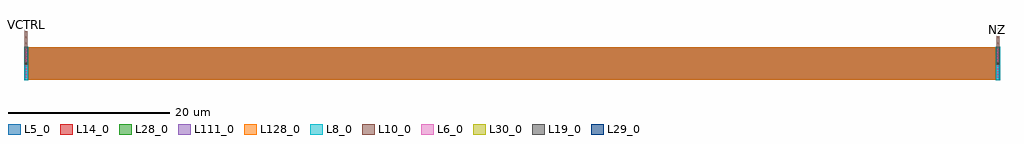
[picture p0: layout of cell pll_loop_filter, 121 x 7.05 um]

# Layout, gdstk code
import gdstk
lib = gdstk.Library(unit=1e-6, precision=1e-09)
def R(c, l, rs):  # rectangles x0, y0, x1, y1
    for r in rs: c.add(gdstk.rectangle(r[:2], r[2:], *l))
def A(c, l, x, y, w, h, nx, ny, dx, dy):  # array of equal rectangles
    R(c, l, [(x+i*dx, y+j*dy, x+i*dx+w, y+j*dy+h) for i in range(nx) for j in range(ny)])
L5_0 = (5, 0)
L6_0 = (6, 0)
L8_0 = (8, 0)
L10_0 = (10, 0)
L14_0 = (14, 0)
L19_0 = (19, 0)
L28_0 = (28, 0)
L29_0 = (29, 0)
L30_0 = (30, 0)
L111_0 = (111, 0)
L128_0 = (128, 0)

loop_filter_resrppd_w4_l = lib.new_cell('loop_filter_resrppd_w4_l120')
R(loop_filter_resrppd_w4_l, L5_0, [(0.1,0.1,0.5,4.3), (120.5,0.1,120.9,4.3), (0.5,0.2,120.5,4.2)])
A(loop_filter_resrppd_w4_l, L6_0, 0.2, 0.42, 0.16, 0.16, 1, 11, 0, 0.34)
A(loop_filter_resrppd_w4_l, L6_0, 120.64, 0.42, 0.16, 0.16, 1, 11, 0, 0.34)
R(loop_filter_resrppd_w4_l, L8_0, [(0,0.1,0.5,4.3), (120.5,0.1,121,4.3)])
R(loop_filter_resrppd_w4_l, L14_0, [(0.5,0.2,120.5,4.2)])
R(loop_filter_resrppd_w4_l, L28_0, [(0.5,0.2,120.5,4.2)])
R(loop_filter_resrppd_w4_l, L111_0, [(0.5,0.2,120.5,4.2)])
R(loop_filter_resrppd_w4_l, L128_0, [(0.5,0.2,120.5,4.2)])

pll_loop_filter = lib.new_cell('pll_loop_filter')
R(pll_loop_filter, L10_0, [(0.1,2.05,0.4,2.35), (0.1,2.05,0.4,7.15), (120.6,2.05,120.9,2.35), (120.6,2.05,120.9,6.55)])
R(pll_loop_filter, L19_0, [(0.155,2.105,0.345,2.295), (120.655,2.105,120.845,2.295)])
R(pll_loop_filter, L29_0, [(120.655,6.305,120.845,6.495), (0.155,6.905,0.345,7.095)])
R(pll_loop_filter, L30_0, [(120.6,6.25,120.9,6.55), (0.1,6.85,0.4,7.15)])
pll_loop_filter.add(gdstk.Reference(loop_filter_resrppd_w4_l, (0,0)))
pll_loop_filter.add(gdstk.Label('NZ', (120.75,6.4), layer=30, texttype=2))
pll_loop_filter.add(gdstk.Label('VCTRL', (0.25,7), layer=30, texttype=2))

lib.write_gds('pll_loop_filter.gds')
